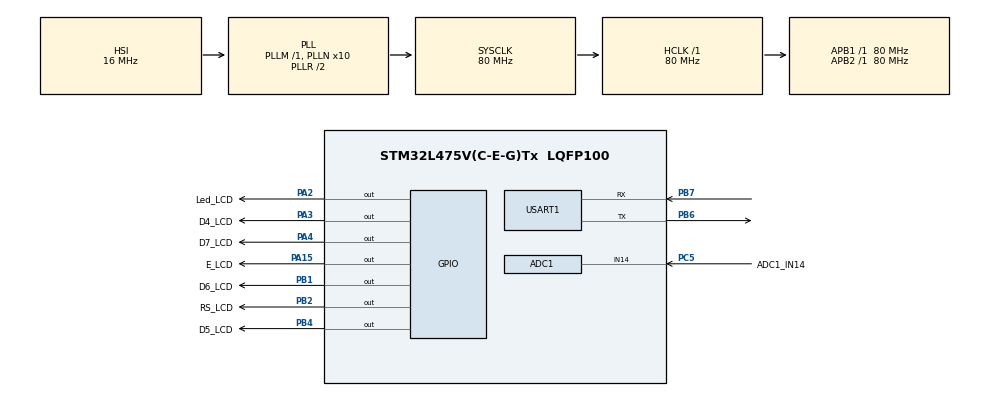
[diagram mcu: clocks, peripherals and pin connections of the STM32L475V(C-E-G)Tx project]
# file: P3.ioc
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ADC1.Channel-0\#ChannelRegularConversion=ADC_CHANNEL_14
ADC1.NbrOfConversionFlag=1
ADC1.OffsetNumber-0\#ChannelRegularConversion=ADC_OFFSET_NONE
ADC1.Rank-0\#ChannelRegularConversion=1
ADC1.SamplingTime-0\#ChannelRegularConversion=ADC_SAMPLETIME_2CYCLES_5
ADC1.master=1
Mcu.Family=STM32L4
Mcu.Name=STM32L475V(C-E-G)Tx
Mcu.Package=LQFP100
NVIC.PriorityGroup=NVIC_PRIORITYGROUP_4
PA15\ (JTDI).GPIO_Label=E_LCD
PA15\ (JTDI).Signal=GPIO_Output
PA2.GPIO_Label=Led_LCD
PA2.Signal=GPIO_Output
PA3.GPIO_Label=D4_LCD
PA3.Signal=GPIO_Output
PA4.GPIO_Label=D7_LCD
PA4.Signal=GPIO_Output
PB1.GPIO_Label=D6_LCD
PB1.Signal=GPIO_Output
PB2.GPIO_Label=RS_LCD
PB2.Signal=GPIO_Output
PB4\ (NJTRST).GPIO_Label=D5_LCD
PB4\ (NJTRST).Signal=GPIO_Output
PB6.Mode=Asynchronous
PB6.Signal=USART1_TX
PB7.Mode=Asynchronous
PB7.Signal=USART1_RX
PC5.GPIO_Label=ADC1_IN14
PC5.Signal=ADCx_IN14
ProjectManager.HeapSize=0x200
ProjectManager.StackSize=0x400
ProjectManager.TargetToolchain=STM32CubeIDE
RCC.ADCFreq_Value=64000000
RCC.AHBFreq_Value=80000000
RCC.APB1Freq_Value=80000000
RCC.APB1TimFreq_Value=80000000
RCC.APB2Freq_Value=80000000
RCC.APB2TimFreq_Value=80000000
RCC.CortexFreq_Value=80000000
RCC.HCLKFreq_Value=80000000
RCC.HSE_VALUE=8000000
RCC.HSI_VALUE=16000000
RCC.LSE_VALUE=32768
RCC.MSI_VALUE=4000000
RCC.PLLN=10
RCC.PLLSourceVirtual=RCC_PLLSOURCE_HSI
RCC.SYSCLKFreq_VALUE=80000000
RCC.SYSCLKSource=RCC_SYSCLKSOURCE_PLLCLK
RCC.USBFreq_Value=64000000
RCC.VCOOutputFreq_Value=160000000
SH.ADCx_IN14.0=ADC1_IN14,IN14-Single-Ended
USART1.VirtualMode-Asynchronous=VM_ASYNC
board=custom

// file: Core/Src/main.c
/* USER CODE BEGIN Header */
/**
  ******************************************************************************
  * @file           : main.c
  * @brief          : Main program body
  ******************************************************************************
  * @attention
  *
  * <h2><center>&copy; Copyright (c) 2021 STMicroelectronics.
  * All rights reserved.</center></h2>
  *
  * This software component is licensed by ST under BSD 3-Clause license,
  * the "License"; You may not use this file except in compliance with the
  * License. You may obtain a copy of the License at:
  *                        opensource.org/licenses/BSD-3-Clause
  *
  ******************************************************************************
  */
/* USER CODE END Header */

#include "main.h"

/* USER CODE BEGIN Includes */
#include "hd44780.h"
/* USER CODE END Includes */

ADC_HandleTypeDef hadc1;

UART_HandleTypeDef huart1;

void SystemClock_Config(void);
static void MX_GPIO_Init(void);
static void MX_ADC1_Init(void);
static void MX_USART1_UART_Init(void);

int main(void)
{
  /* USER CODE BEGIN 1 */
	int sample, volt, boton;
  /* USER CODE END 1 */

  /* MCU Configuration--------------------------------------------------------*/

  /* Reset of all peripherals, Initializes the Flash interface and the Systick. */
  HAL_Init();

  /* Configure the system clock */
  SystemClock_Config();

  /* Initialize all configured peripherals */
  MX_GPIO_Init();
  MX_ADC1_Init();
  MX_USART1_UART_Init();
  /* USER CODE BEGIN 2 */
  //Fase 1
  //Prueba
  LL_GPIO_SetOutputPin(GPIOA, Led_LCD_Pin);
  lcd_reset();
  lcd_display_settings(1, 0, 0);
  lcd_clear();
//  lcd_print("FUNCIONA!");
  /* USER CODE END 2 */

  /* Infinite loop */
  /* USER CODE BEGIN WHILE */
  while (1)
  {
	  //Fase 1
	  //Mostrar la muestra en el display
//	  HAL_ADC_Start(&hadc1);
//	  HAL_ADC_PollForConversion(&hadc1, 100);
//	  sample = HAL_ADC_GetValue(&hadc1);
//	  moveToXY(0,0);
//	  lcd_print("SAMPLE: ");
//	  writeIntegerToLCD(sample);
//	  HAL_Delay(100);

	  //Fase 1
	  //Mostrar el voltaje en el display
//	  HAL_ADC_Start(&hadc1);
//	  HAL_ADC_PollForConversion(&hadc1, 100);
//	  volt = (HAL_ADC_GetValue(&hadc1)*3300)/4095;
//	  moveToXY(0,0);
//	  lcd_print("VOLT: ");
//	  writeIntegerToLCD(volt);
//	  HAL_Delay(100);

	  //Fase 1
	  //Mostrar el id del boton en el display
//	  HAL_ADC_Start(&hadc1);
//	  HAL_ADC_PollForConversion(&hadc1, 100);
//	  boton = getButton(HAL_ADC_GetValue(&hadc1));
//	  moveToXY(0,0);
//	  lcd_print("ID: ");
//	  writeIntegerToLCD(boton);
//	  HAL_Delay(100);

	  //Fase 2
	  //Prueba
//	  HAL_UART_Transmit (&huart1, "hola\n\r", 6, 1000);
//	  HAL_Delay(100);

	  //Fase 2
	  //Muestra total por terminal
//	  HAL_ADC_Start(&hadc1);
//	  HAL_ADC_PollForConversion(&hadc1, 100);
//	  sample = HAL_ADC_GetValue(&hadc1);
//	  volt = (HAL_ADC_GetValue(&hadc1)*3300)/4095;
//	  boton = getButton(HAL_ADC_GetValue(&hadc1));
//	  printf("Sample: %d - Volt: %d - Boton : %d \r\n", sample , volt, boton);
//	  HAL_Delay(100);

    /* USER CODE END WHILE */

  }
}

void SystemClock_Config(void)
{
  RCC_OscInitTypeDef RCC_OscInitStruct = {0};
  RCC_ClkInitTypeDef RCC_ClkInitStruct = {0};
  RCC_PeriphCLKInitTypeDef PeriphClkInit = {0};

  /** Initializes the CPU, AHB and APB busses clocks
  */
  RCC_OscInitStruct.OscillatorType = RCC_OSCILLATORTYPE_HSI;
  RCC_OscInitStruct.HSIState = RCC_HSI_ON;
  RCC_OscInitStruct.HSICalibrationValue = RCC_HSICALIBRATION_DEFAULT;
  RCC_OscInitStruct.PLL.PLLState = RCC_PLL_ON;
  RCC_OscInitStruct.PLL.PLLSource = RCC_PLLSOURCE_HSI;
  RCC_OscInitStruct.PLL.PLLM = 1;
  RCC_OscInitStruct.PLL.PLLN = 10;
  RCC_OscInitStruct.PLL.PLLP = RCC_PLLP_DIV7;
  RCC_OscInitStruct.PLL.PLLQ = RCC_PLLQ_DIV2;
  RCC_OscInitStruct.PLL.PLLR = RCC_PLLR_DIV2;
  if (HAL_RCC_OscConfig(&RCC_OscInitStruct) != HAL_OK)
  {
    Error_Handler();
  }
  /** Initializes the CPU, AHB and APB busses clocks
  */
  RCC_ClkInitStruct.ClockType = RCC_CLOCKTYPE_HCLK|RCC_CLOCKTYPE_SYSCLK
                              |RCC_CLOCKTYPE_PCLK1|RCC_CLOCKTYPE_PCLK2;
  RCC_ClkInitStruct.SYSCLKSource = RCC_SYSCLKSOURCE_PLLCLK;
  RCC_ClkInitStruct.AHBCLKDivider = RCC_SYSCLK_DIV1;
  RCC_ClkInitStruct.APB1CLKDivider = RCC_HCLK_DIV1;
  RCC_ClkInitStruct.APB2CLKDivider = RCC_HCLK_DIV1;

  if (HAL_RCC_ClockConfig(&RCC_ClkInitStruct, FLASH_LATENCY_4) != HAL_OK)
  {
    Error_Handler();
  }
  PeriphClkInit.PeriphClockSelection = RCC_PERIPHCLK_USART1|RCC_PERIPHCLK_ADC;
  PeriphClkInit.Usart1ClockSelection = RCC_USART1CLKSOURCE_PCLK2;
  PeriphClkInit.AdcClockSelection = RCC_ADCCLKSOURCE_PLLSAI1;
  PeriphClkInit.PLLSAI1.PLLSAI1Source = RCC_PLLSOURCE_HSI;
  PeriphClkInit.PLLSAI1.PLLSAI1M = 1;
  PeriphClkInit.PLLSAI1.PLLSAI1N = 8;
  PeriphClkInit.PLLSAI1.PLLSAI1P = RCC_PLLP_DIV7;
  PeriphClkInit.PLLSAI1.PLLSAI1Q = RCC_PLLQ_DIV2;
  PeriphClkInit.PLLSAI1.PLLSAI1R = RCC_PLLR_DIV2;
  PeriphClkInit.PLLSAI1.PLLSAI1ClockOut = RCC_PLLSAI1_ADC1CLK;
  if (HAL_RCCEx_PeriphCLKConfig(&PeriphClkInit) != HAL_OK)
  {
    Error_Handler();
  }
  /** Configure the main internal regulator output voltage
  */
  if (HAL_PWREx_ControlVoltageScaling(PWR_REGULATOR_VOLTAGE_SCALE1) != HAL_OK)
  {
    Error_Handler();
  }
}

static void MX_ADC1_Init(void)
{

  ADC_MultiModeTypeDef multimode = {0};
  ADC_ChannelConfTypeDef sConfig = {0};

  /** Common config
  */
  hadc1.Instance = ADC1;
  hadc1.Init.ClockPrescaler = ADC_CLOCK_ASYNC_DIV1;
  hadc1.Init.Resolution = ADC_RESOLUTION_12B;
  hadc1.Init.DataAlign = ADC_DATAALIGN_RIGHT;
  hadc1.Init.ScanConvMode = ADC_SCAN_DISABLE;
  hadc1.Init.EOCSelection = ADC_EOC_SINGLE_CONV;
  hadc1.Init.LowPowerAutoWait = DISABLE;
  hadc1.Init.ContinuousConvMode = DISABLE;
  hadc1.Init.NbrOfConversion = 1;
  hadc1.Init.DiscontinuousConvMode = DISABLE;
  hadc1.Init.NbrOfDiscConversion = 1;
  hadc1.Init.ExternalTrigConv = ADC_SOFTWARE_START;
  hadc1.Init.ExternalTrigConvEdge = ADC_EXTERNALTRIGCONVEDGE_NONE;
  hadc1.Init.DMAContinuousRequests = DISABLE;
  hadc1.Init.Overrun = ADC_OVR_DATA_PRESERVED;
  hadc1.Init.OversamplingMode = DISABLE;
  if (HAL_ADC_Init(&hadc1) != HAL_OK)
  {
    Error_Handler();
  }
  /** Configure the ADC multi-mode
  */
  multimode.Mode = ADC_MODE_INDEPENDENT;
  if (HAL_ADCEx_MultiModeConfigChannel(&hadc1, &multimode) != HAL_OK)
  {
    Error_Handler();
  }
  /** Configure Regular Channel
  */
  sConfig.Channel = ADC_CHANNEL_14;
  sConfig.Rank = ADC_REGULAR_RANK_1;
  sConfig.SamplingTime = ADC_SAMPLETIME_2CYCLES_5;
  sConfig.SingleDiff = ADC_SINGLE_ENDED;
  sConfig.OffsetNumber = ADC_OFFSET_NONE;
  sConfig.Offset = 0;
  if (HAL_ADC_ConfigChannel(&hadc1, &sConfig) != HAL_OK)
  {
    Error_Handler();
  }

}

static void MX_USART1_UART_Init(void)
{

  huart1.Instance = USART1;
  huart1.Init.BaudRate = 115200;
  huart1.Init.WordLength = UART_WORDLENGTH_8B;
  huart1.Init.StopBits = UART_STOPBITS_1;
  huart1.Init.Parity = UART_PARITY_NONE;
  huart1.Init.Mode = UART_MODE_TX_RX;
  huart1.Init.HwFlowCtl = UART_HWCONTROL_NONE;
  huart1.Init.OverSampling = UART_OVERSAMPLING_16;
  huart1.Init.OneBitSampling = UART_ONE_BIT_SAMPLE_DISABLE;
  huart1.AdvancedInit.AdvFeatureInit = UART_ADVFEATURE_NO_INIT;
  if (HAL_UART_Init(&huart1) != HAL_OK)
  {
    Error_Handler();
  }

}

static void MX_GPIO_Init(void)
{
  LL_GPIO_InitTypeDef GPIO_InitStruct = {0};

  /* GPIO Ports Clock Enable */
  LL_AHB2_GRP1_EnableClock(LL_AHB2_GRP1_PERIPH_GPIOA);
  LL_AHB2_GRP1_EnableClock(LL_AHB2_GRP1_PERIPH_GPIOC);
  LL_AHB2_GRP1_EnableClock(LL_AHB2_GRP1_PERIPH_GPIOB);

  /**/
  LL_GPIO_ResetOutputPin(GPIOA, Led_LCD_Pin|D4_LCD_Pin|D7_LCD_Pin|E_LCD_Pin);

  /**/
  LL_GPIO_ResetOutputPin(GPIOB, D6_LCD_Pin|RS_LCD_Pin|D5_LCD_Pin);

  /**/
  GPIO_InitStruct.Pin = Led_LCD_Pin|D4_LCD_Pin|D7_LCD_Pin|E_LCD_Pin;
  GPIO_InitStruct.Mode = LL_GPIO_MODE_OUTPUT;
  GPIO_InitStruct.Speed = LL_GPIO_SPEED_FREQ_LOW;
  GPIO_InitStruct.OutputType = LL_GPIO_OUTPUT_PUSHPULL;
  GPIO_InitStruct.Pull = LL_GPIO_PULL_NO;
  LL_GPIO_Init(GPIOA, &GPIO_InitStruct);

  /**/
  GPIO_InitStruct.Pin = D6_LCD_Pin|RS_LCD_Pin|D5_LCD_Pin;
  GPIO_InitStruct.Mode = LL_GPIO_MODE_OUTPUT;
  GPIO_InitStruct.Speed = LL_GPIO_SPEED_FREQ_LOW;
  GPIO_InitStruct.OutputType = LL_GPIO_OUTPUT_PUSHPULL;
  GPIO_InitStruct.Pull = LL_GPIO_PULL_NO;
  LL_GPIO_Init(GPIOB, &GPIO_InitStruct);

}

/* USER CODE BEGIN 4 */
#ifdef __GNUC__
/* With GCC/RAISONANCE, small printf (option LD Linker -->Libraries -->Small printf
 * set to 'Yes') calls __io_putchar(int ch)*/
#define PUTCHAR_PROTOTYPE int __io_putchar(int ch)
#else
#define PUTCHAR_PROTOTYPE int fputc(int ch , FILE *f)
#endif /* __GNUC__ */

PUTCHAR_PROTOTYPE{
	HAL_UART_Transmit(&huart1,(uint8_t *) &ch, 1, 1000);
	return ch;
}

int getButton(int sample){
	int res;
	if(0 <= sample && sample <= 100){
		res = 1;
	}else if(100 < sample && sample <= 1000){
		res = 2;
	}else if(1000 < sample && sample <= 2000){
		res = 3;
	}else if(2000 < sample && sample <= 3000){
		res = 4;
	}else if(3000 < sample && sample <= 4000){
		res = 5;
	}else if(4000 < sample && sample <= 4095){
		res = 0;
	}
	return res;
}
/* USER CODE END 4 */

void Error_Handler(void)
{
}

/************************ (C) COPYRIGHT STMicroelectronics *****END OF FILE****/
